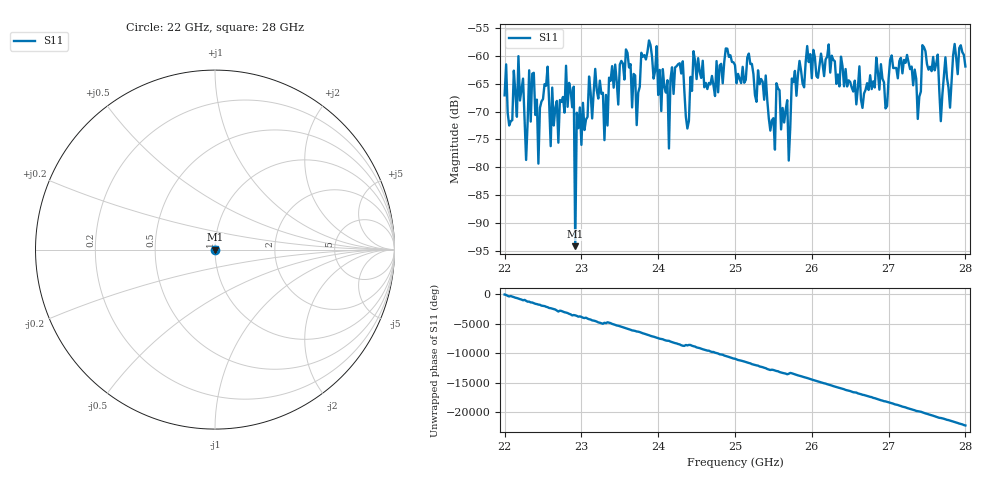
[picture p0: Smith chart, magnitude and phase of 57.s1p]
#  HZ  S  RI  R  50.00
! Rohde & Schwarz ZVA40 4Ports - Version 3.90 - 1145.1110k42 SN: 100403
! Date: 2023-10-04 11:22:06
! Measurement: S12
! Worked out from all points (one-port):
!   301 points, 22 GHz to 28 GHz, reference 50 ohm
!   lowest |S11| = -94.2 dB at 22.92 GHz (marker M1), VSWR 1.00, Z = 50 + j0.00168 ohm
!   |S11| at or under -10 dB: start of sweep to end of sweep
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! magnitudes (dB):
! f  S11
! 22 GHz  -67.1
! 22.18 GHz  -60.0
! 22.28 GHz  -78.7
! 22.38 GHz  -63.0
! 22.44 GHz  -79.4
! 22.56 GHz  -61.9
! 22.6 GHz  -76.2
! 22.76 GHz  -67.4
! 22.9 GHz  -65.5
! 22.92 GHz  -94.2
! 23.1 GHz  -63.7
! 23.3 GHz  -75.1
! 23.5 GHz  -61.6
! 23.72 GHz  -72.4
! 23.98 GHz  -58.2
! 24.14 GHz  -76.6
! 24.26 GHz  -61.5
! 24.38 GHz  -73.0
! 24.46 GHz  -59.2
! 25 GHz  -61.6
! 25.52 GHz  -76.8
! 25.54 GHz  -64.9
! 25.68 GHz  -68.0
! 25.7 GHz  -78.8
! 25.76 GHz  -64.7
! 26.5 GHz  -64.7
! 27.26 GHz  -61.2
! 28 GHz  -61.9
